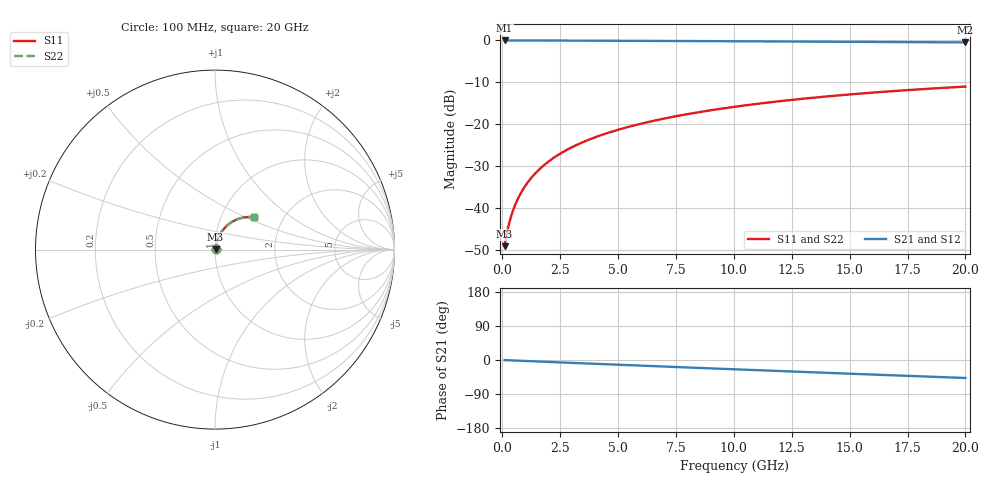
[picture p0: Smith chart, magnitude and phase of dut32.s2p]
! Touchstone file exported from HFSS 2026.1.0
!  File:  C:/ffzhzh/LocalFiles/Ansys_Project_Files/temp_train_BSMRDL_32_1782882243_43084.aedt
!  Generated:  01:05:24 PM Jul  1, 2026
!  Design:  BSMRDL
!  Project:  temp_train_BSMRDL_32_1782882243_43084
! Variables:
!  h_bsmrdl = 5.05um
!  h_ox = 20um
!  h_rdl = 5um
!  h_sub = 80um
!  h_tmrdl = 5um
!  h_tsv = 80um
!  h_via = 3um
!  l_bsmrdl = 794.42um
!  l_sub = 1194.42um
!  l_tmrdl = 200um
!  m_sub = 200um
!  pitch = 35.99um
!  r_tsv = 6um
!  s_tmrdl = 10um
!  w_bsmrdl = 21.26um
!  w_sub = 500um
!  w_tmrdl = 12um
!  x_tsv_center1 = 206um
!  x_tsv_center2 = 1021.68um
!  x_tsv_center3 = 1233.68um
!  x_tsv_center4 = 2049.36um
!  x_tsv_center5 = 2261.36um
!  x_tsv_center6 = 3077.04um
# GHz S MA R 50.000000
! Terminal data exported
! Port[1] = BSM_RDL1_1_T1
! Port[2] = BSM_RDL1_1_T2
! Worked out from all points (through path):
!   200 points, 100 MHz to 20 GHz, reference 50 ohm
!   highest |S21| = -0.02 dB at 100 MHz (marker M1); lowest = -0.5 dB at 20 GHz (marker M2)
!   group delay of S21, straight-line fit = 6.58 ps
!   lowest |S11| = -49.0 dB at 100 MHz (marker M3), VSWR 1.01, Z = 50.3 + j0.213 ohm
!   |S11| at or under -10 dB: start of sweep to end of sweep
!   |S22| runs from -49.0 to -11.0 dB; largest |S21 - S12| = 3.6e-15
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0.1  0.003543 36.8  0.9972 -0.3  0.9972 -0.3  0.003543 36.8
! Gamma 0 0 0 0
! Port Impedance 50 0 50 0
0.2  0.005104 52.4  0.9969 -0.5  0.9969 -0.5  0.005104 52.4
0.3  0.006733 60.1  0.9967 -0.8  0.9967 -0.8  0.006733 60.1
0.4  0.008374 64.9  0.9966 -1.0  0.9966 -1.0  0.008374 64.9
0.5  0.01004 68.2  0.9965 -1.3  0.9965 -1.3  0.01004 68.2
0.6  0.01173 70.6  0.9964 -1.5  0.9964 -1.5  0.01173 70.6
0.8  0.01516 73.7  0.9962 -2.1  0.9962 -2.1  0.01516 73.7
1.1  0.02039 76.1  0.9959 -2.8  0.9959 -2.8  0.02039 76.1
1.3  0.02389 76.9  0.9957 -3.3  0.9957 -3.3  0.02389 76.9
1.6  0.02915 77.5  0.9953 -4.1  0.9953 -4.1  0.02915 77.5
2.1  0.03787 77.5  0.9946 -5.3  0.9946 -5.3  0.03787 77.5
2.7  0.04819 76.8  0.9935 -6.8  0.9935 -6.8  0.04819 76.9
3.5  0.06167 75.5  0.992 -8.8  0.992 -8.8  0.06167 75.5
4.2  0.07321 74.1  0.9904 -10.5  0.9904 -10.5  0.07321 74.1
5  0.08613 72.4  0.9886 -12.5  0.9886 -12.5  0.08613 72.4
5.9  0.1003 70.5  0.9865 -14.7  0.9865 -14.7  0.1003 70.5
6.8  0.1142 68.5  0.9843 -16.9  0.9843 -16.9  0.1143 68.5
8.3  0.1368 65.3  0.9804 -20.5  0.9804 -20.5  0.1368 65.3
10.1  0.1628 61.3  0.9754 -24.7  0.9754 -24.7  0.1628 61.4
13.4  0.2072 54.1  0.9657 -32.5  0.9657 -32.5  0.2072 54.1
16.7  0.2468 46.8  0.9554 -40.1  0.9554 -40.1  0.2469 46.9
20  0.2814 39.7  0.9452 -47.5  0.9452 -47.5  0.2814 39.8
